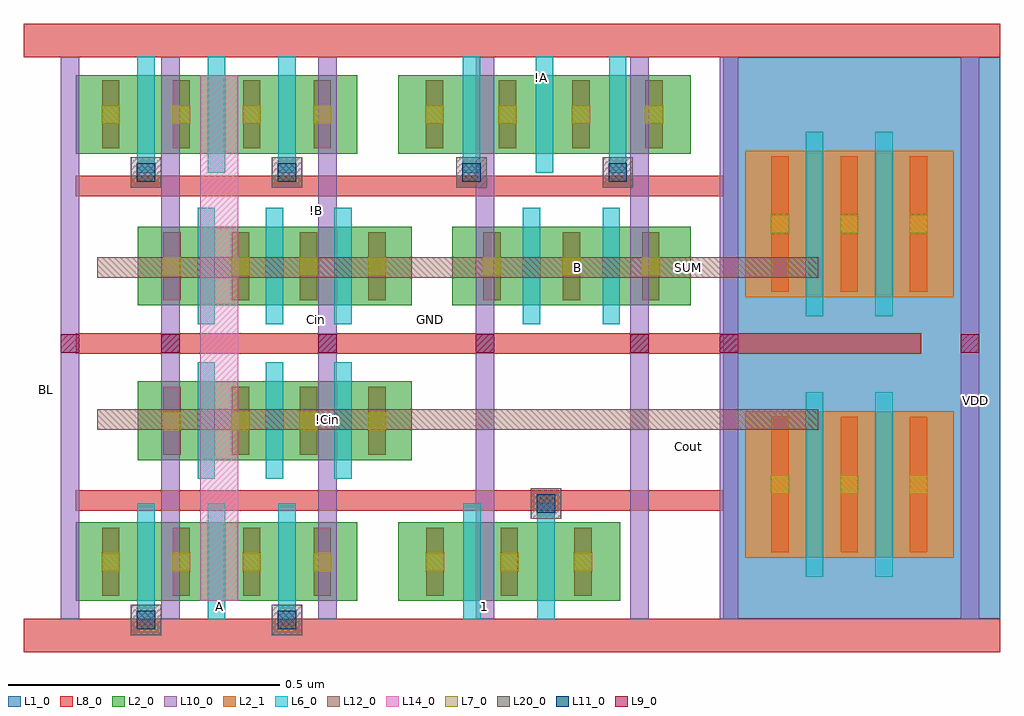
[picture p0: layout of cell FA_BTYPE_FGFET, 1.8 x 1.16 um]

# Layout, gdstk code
import gdstk
lib = gdstk.Library(unit=1e-6, precision=1e-09)
def R(c, l, rs):  # rectangles x0, y0, x1, y1
    for r in rs: c.add(gdstk.rectangle(r[:2], r[2:], *l))
def A(c, l, x, y, w, h, nx, ny, dx, dy):  # array of equal rectangles
    R(c, l, [(x+i*dx, y+j*dy, x+i*dx+w, y+j*dy+h) for i in range(nx) for j in range(ny)])
L1_0 = (1, 0)
L2_0 = (2, 0)
L2_1 = (2, 1)
L6_0 = (6, 0)
L7_0 = (7, 0)
L8_0 = (8, 0)
L9_0 = (9, 0)
L10_0 = (10, 0)
L11_0 = (11, 0)
L12_0 = (12, 0)
L14_0 = (14, 0)
L20_0 = (20, 0)

fa_btype_fgfet = lib.new_cell('FA_BTYPE_FGFET')
R(fa_btype_fgfet, L1_0, [(1.29,0.062,1.8,1.098)])
R(fa_btype_fgfet, L2_0, [(0.095,0.095,0.615,0.24), (0.69,0.095,1.1,0.24), (0.21,0.355,0.715,0.5), (0.21,0.64,0.715,0.785), (0.79,0.64,1.23,0.785), (0.095,0.92,0.615,1.065), (0.69,0.92,1.23,1.065)])
R(fa_btype_fgfet, L2_1, [(1.33,0.175,1.715,0.445), (1.33,0.655,1.715,0.925)])
A(fa_btype_fgfet, L6_0, 0.209, 0.06, 0.032, 0.215, 3, 2, 0.13, 0.825)
A(fa_btype_fgfet, L6_0, 0.32, 0.32, 0.032, 0.215, 3, 2, 0.126, 0.285)
A(fa_btype_fgfet, L6_0, 0.809, 0.885, 0.032, 0.215, 3, 1, 0.135, 0)
R(fa_btype_fgfet, L6_0, [(0.81,0.06,0.842,0.275), (0.947,0.06,0.979,0.275), (1.442,0.14,1.474,0.48), (1.57,0.14,1.602,0.48), (0.92,0.605,0.952,0.82), (1.067,0.605,1.099,0.82), (1.442,0.62,1.474,0.96), (1.57,0.62,1.602,0.96)])
A(fa_btype_fgfet, L7_0, 0.143, 0.15, 0.034, 0.034, 4, 2, 0.13, 0.825)
A(fa_btype_fgfet, L7_0, 1.377, 0.293, 0.034, 0.034, 3, 2, 0.128, 0.48)
A(fa_btype_fgfet, L7_0, 0.256, 0.41, 0.034, 0.034, 4, 2, 0.126, 0.285)
A(fa_btype_fgfet, L7_0, 0.74, 0.975, 0.034, 0.034, 4, 1, 0.135, 0)
R(fa_btype_fgfet, L7_0, [(0.741,0.15,0.775,0.184), (0.878,0.15,0.912,0.184), (1.014,0.15,1.048,0.184), (0.846,0.695,0.88,0.729), (0.993,0.695,1.027,0.729), (1.139,0.695,1.173,0.729)])
A(fa_btype_fgfet, L8_0, 0.144, 0.105, 0.032, 0.125, 4, 2, 0.13, 0.825)
A(fa_btype_fgfet, L8_0, 1.378, 0.185, 0.032, 0.25, 3, 2, 0.128, 0.48)
A(fa_btype_fgfet, L8_0, 0.257, 0.365, 0.032, 0.125, 4, 2, 0.126, 0.285)
A(fa_btype_fgfet, L8_0, 0.741, 0.93, 0.032, 0.125, 4, 1, 0.135, 0)
R(fa_btype_fgfet, L8_0, [(0,0,1.8,0.062), (0.742,0.105,0.774,0.23), (0.879,0.105,0.911,0.23), (1.015,0.105,1.047,0.23), (0.095,0.261,1.29,0.299), (0.095,0.551,1.655,0.589), (0.847,0.65,0.879,0.775), (0.994,0.65,1.026,0.775), (1.14,0.65,1.172,0.775), (0.095,0.841,1.29,0.879), (0,1.098,1.8,1.16)])
A(fa_btype_fgfet, L9_0, 0.253, 0.553, 0.034, 0.034, 3, 1, 0.29, 0)
R(fa_btype_fgfet, L9_0, [(0.068,0.553,0.102,0.587), (1.118,0.553,1.152,0.587), (1.283,0.553,1.317,0.587), (1.728,0.553,1.762,0.587)])
A(fa_btype_fgfet, L10_0, 0.253, 0.062, 0.034, 1.036, 3, 1, 0.29, 0)
R(fa_btype_fgfet, L10_0, [(0.068,0.062,0.102,1.098), (1.118,0.062,1.152,1.098), (1.283,0.062,1.317,1.098), (1.728,0.062,1.762,1.098)])
R(fa_btype_fgfet, L11_0, [(0.208,0.043,0.242,0.077), (0.468,0.043,0.502,0.077), (0.946,0.258,0.98,0.292), (0.208,0.868,0.242,0.902), (0.468,0.868,0.502,0.902), (0.808,0.868,0.842,0.902), (1.078,0.868,1.112,0.902)])
R(fa_btype_fgfet, L12_0, [(0.135,0.411,1.465,0.449), (0.135,0.691,1.465,0.729)])
R(fa_btype_fgfet, L14_0, [(0.325,0.095,0.395,1.065)])
R(fa_btype_fgfet, L20_0, [(0.197,0.032,0.253,0.088), (0.457,0.032,0.513,0.088), (0.935,0.247,0.991,0.303), (0.197,0.857,0.253,0.913), (0.457,0.857,0.513,0.913), (0.797,0.857,0.853,0.913), (1.067,0.857,1.123,0.913)])
fa_btype_fgfet.add(gdstk.Label('BL', (0.042,0.485), layer=100, texttype=0))
fa_btype_fgfet.add(gdstk.Label('!A', (0.955,1.06), layer=100, texttype=0))
fa_btype_fgfet.add(gdstk.Label('!B', (0.54,0.815), layer=100, texttype=0))
fa_btype_fgfet.add(gdstk.Label('B', (1.02,0.71), layer=100, texttype=0))
fa_btype_fgfet.add(gdstk.Label('Cin', (0.54,0.615), layer=100, texttype=0))
fa_btype_fgfet.add(gdstk.Label('GND', (0.75,0.615), layer=100, texttype=0))
fa_btype_fgfet.add(gdstk.Label('SUM', (1.225,0.71), layer=100, texttype=0))
fa_btype_fgfet.add(gdstk.Label('!Cin', (0.56,0.43), layer=100, texttype=0))
fa_btype_fgfet.add(gdstk.Label('Cout', (1.225,0.38), layer=100, texttype=0))
fa_btype_fgfet.add(gdstk.Label('VDD', (1.755,0.465), layer=100, texttype=0))
fa_btype_fgfet.add(gdstk.Label('A', (0.36,0.085), layer=100, texttype=0))
fa_btype_fgfet.add(gdstk.Label('1', (0.85,0.085), layer=100, texttype=0))

lib.write_gds('FA_BTYPE_FGFET.gds')
